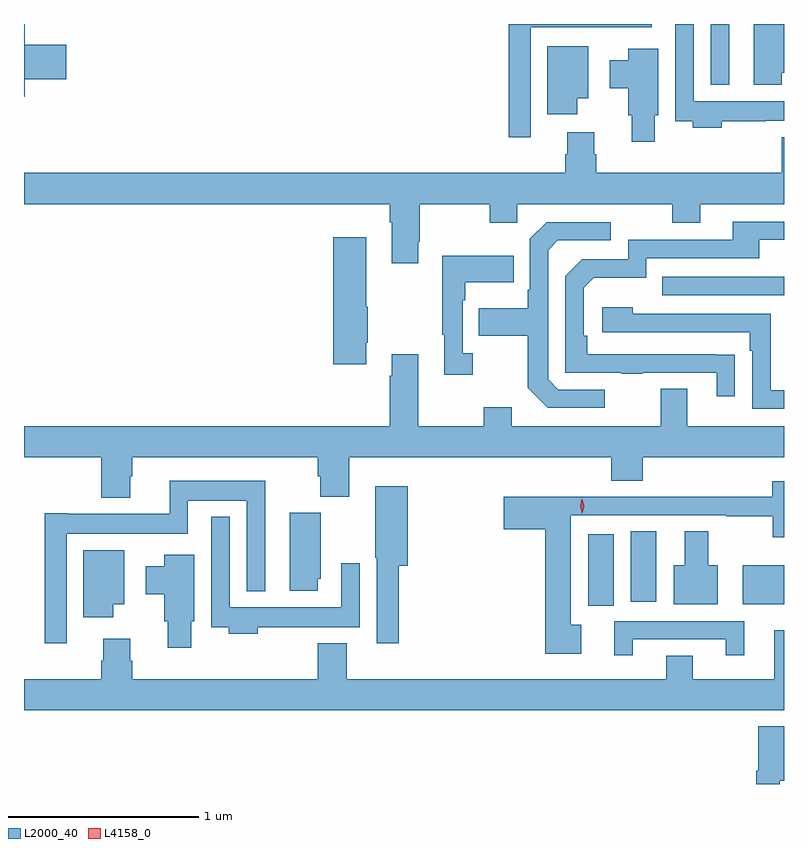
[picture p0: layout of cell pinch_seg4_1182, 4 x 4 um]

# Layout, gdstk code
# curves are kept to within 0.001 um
import gdstk
lib = gdstk.Library(unit=1e-6, precision=1e-09)
def R(c, l, rs):  # rectangles x0, y0, x1, y1
    for r in rs: c.add(gdstk.rectangle(r[:2], r[2:], *l))
def P(c, l, *ps):  # polygons
    for p in ps: c.add(gdstk.Polygon(p, *l))
L2000_40 = (2000, 40)
L4158_0 = (4158, 0)

pinch_seg4_1182 = lib.new_cell('pinch_seg4_1182')
R(pinch_seg4_1182, L2000_40, [(528.548,788.046,528.682,788.422), (529.361,788.054,529.577,788.26), (528.77,788.067,528.904,788.438), (528.937,789.681,529.577,789.777), (529.191,790.787,529.288,791.108)])
P(pinch_seg4_1182, L2000_40, [(529.25,790.596),(529.481,790.596),(529.481,790.598),(529.577,790.598),(529.577,790.702),(529.101,790.702),(529.101,791.108),(529.005,791.108),(529.005,790.596),(529.097,790.596),(529.097,790.562),(529.25,790.562)],
  [(529.564,790.851),(529.577,790.851),(529.577,791.108),(529.418,791.108),(529.418,790.788),(529.564,790.788)],
  [(525.581,790.817),(525.799,790.817),(525.799,791),(525.581,791),(525.581,791.108),(525.577,791.108),(525.577,790.726),(525.581,790.726)],
  [(528.243,791.09),(528.882,791.09),(528.882,791.108),(528.127,791.108),(528.127,790.512),(528.243,790.512)],
  [(528.49,790.718),(528.547,790.718),(528.547,790.99),(528.332,790.99),(528.332,790.632),(528.49,790.632)],
  [(528.898,790.629),(528.916,790.629),(528.916,790.978),(528.758,790.978),(528.758,790.918),(528.659,790.918),(528.659,790.771),(528.758,790.771),(528.758,790.629),(528.776,790.629),(528.776,790.488),(528.898,790.488)],
  [(527.653,789.961),(527.661,789.961),(527.661,790.16),(528.028,790.16),(528.028,790.061),(528.174,790.061),(528.174,790.16),(528.988,790.16),(528.988,790.061),(529.135,790.061),(529.135,790.16),(529.577,790.16),(529.577,790.513),(529.565,790.513),(529.565,790.324),(528.59,790.324),(528.59,790.422),(528.577,790.422),(528.577,790.537),(528.437,790.537),(528.437,790.422),(528.425,790.422),(528.425,790.324),(525.577,790.324),(525.577,790.16),(527.501,790.16),(527.501,790.064),(527.513,790.064),(527.513,789.849),(527.653,789.849)],
  [(529.319,789.368),(528.542,789.369),(528.542,789.466),(528.522,789.466),(528.522,789.72),(528.575,789.773),(528.852,789.773),(528.852,789.876),(529.447,789.876),(529.447,789.972),(529.577,789.972),(529.577,790.068),(529.307,790.068),(529.307,789.972),(528.756,789.972),(528.756,789.87),(528.516,789.87),(528.426,789.78),(528.426,789.273),(528.721,789.273),(528.721,789.268),(528.833,789.268),(528.833,789.273),(529.223,789.273),(529.223,789.15),(529.319,789.15)],
  [(528.634,789.183),(528.39,789.183),(528.336,789.237),(528.336,789.918),(528.387,789.969),(528.664,789.969),(528.664,790.065),(528.327,790.065),(528.24,789.978),(528.24,789.709),(528.228,789.709),(528.228,789.613),(527.971,789.613),(527.971,789.466),(528.228,789.466),(528.228,789.193),(528.333,789.087),(528.634,789.087)],
  [(527.377,789.43),(527.385,789.43),(527.385,789.619),(527.377,789.619),(527.377,789.985),(527.204,789.985),(527.204,789.318),(527.377,789.318)],
  [(527.938,789.374),(527.886,789.374),(527.886,789.653),(527.899,789.653),(527.899,789.749),(528.155,789.749),(528.155,789.889),(527.778,789.889),(527.778,789.473),(527.789,789.473),(527.789,789.261),(527.938,789.261)],
  [(529.577,789.18),(529.506,789.18),(529.506,789.582),(528.782,789.582),(528.782,789.616),(528.621,789.616),(528.621,789.486),(529.397,789.486),(529.397,789.389),(529.41,789.389),(529.41,789.084),(529.577,789.084)],
  [(526.135,788.727),(526.148,788.727),(526.148,788.828),(527.123,788.828),(527.123,788.729),(527.135,788.729),(527.135,788.62),(527.288,788.62),(527.288,788.828),(528.668,788.828),(528.668,788.704),(528.833,788.704),(528.833,788.828),(529.577,788.828),(529.577,788.992),(529.069,788.992),(529.069,789.187),(528.929,789.187),(528.929,788.992),(528.145,788.992),(528.145,789.091),(527.998,789.091),(527.998,788.992),(527.653,788.992),(527.653,789.37),(527.513,789.37),(527.513,789.257),(527.501,789.257),(527.501,788.992),(525.577,788.992),(525.577,788.828),(525.983,788.828),(525.983,788.615),(526.135,788.615)],
  [(525.801,788.426),(526.44,788.426),(526.44,788.6),(526.749,788.6),(526.749,788.123),(526.846,788.123),(526.846,788.704),(526.343,788.704),(526.343,788.53),(525.808,788.53),(525.808,788.533),(525.685,788.533),(525.685,787.848),(525.801,787.848)],
  [(528.511,787.946),(528.454,787.946),(528.454,788.523),(529.273,788.523),(529.273,788.518),(529.519,788.518),(529.519,788.406),(529.577,788.406),(529.577,788.701),(529.514,788.701),(529.514,788.621),(528.916,788.621),(528.916,788.619),(528.55,788.619),(528.55,788.621),(528.102,788.621),(528.102,788.45),(528.32,788.45),(528.32,787.793),(528.511,787.793)],
  [(527.549,788.258),(527.597,788.258),(527.597,788.674),(527.426,788.674),(527.426,788.298),(527.433,788.298),(527.433,787.848),(527.549,787.848)],
  [(527.122,788.187),(527.14,788.187),(527.14,788.535),(526.976,788.535),(526.976,788.124),(527.122,788.124)],
  [(526.808,787.932),(527.039,787.932),(527.039,787.934),(527.343,787.934),(527.343,788.269),(527.247,788.269),(527.247,788.038),(526.659,788.038),(526.659,788.515),(526.563,788.515),(526.563,787.932),(526.655,787.932),(526.655,787.898),(526.808,787.898)],
  [(529.228,788.26),(529.177,788.26),(529.177,788.438),(529.055,788.438),(529.055,788.26),(528.998,788.26),(528.998,788.054),(529.228,788.054)],
  [(526.048,788.054),(526.105,788.054),(526.105,788.338),(525.89,788.338),(525.89,787.986),(526.048,787.986)],
  [(526.456,787.965),(526.474,787.965),(526.474,788.314),(526.316,788.314),(526.316,788.254),(526.217,788.254),(526.217,788.107),(526.316,788.107),(526.316,787.965),(526.334,787.965),(526.334,787.824),(526.456,787.824)],
  [(528.781,787.869),(529.271,787.869),(529.271,787.785),(529.369,787.785),(529.369,787.965),(528.683,787.965),(528.683,787.785),(528.781,787.785)],
  [(529.577,787.918),(529.526,787.918),(529.526,787.66),(529.096,787.66),(529.096,787.784),(528.956,787.784),(528.956,787.66),(527.275,787.66),(527.275,787.849),(527.123,787.849),(527.123,787.66),(526.148,787.66),(526.148,787.758),(526.135,787.758),(526.135,787.873),(525.995,787.873),(525.995,787.758),(525.983,787.758),(525.983,787.66),(525.577,787.66),(525.577,787.496),(529.577,787.496)],
  [(529.555,787.124),(529.577,787.124),(529.577,787.411),(529.442,787.411),(529.442,787.178),(529.43,787.178),(529.43,787.108),(529.555,787.108)])
P(pinch_seg4_1182, L4158_0, [(528.516,788.534),(528.516,788.534),(528.505,788.569),(528.513,788.606),(528.513,788.606),(528.514,788.606),(528.525,788.57),(528.516,788.534)])

lib.write_gds('pinch_seg4_1182.gds')
